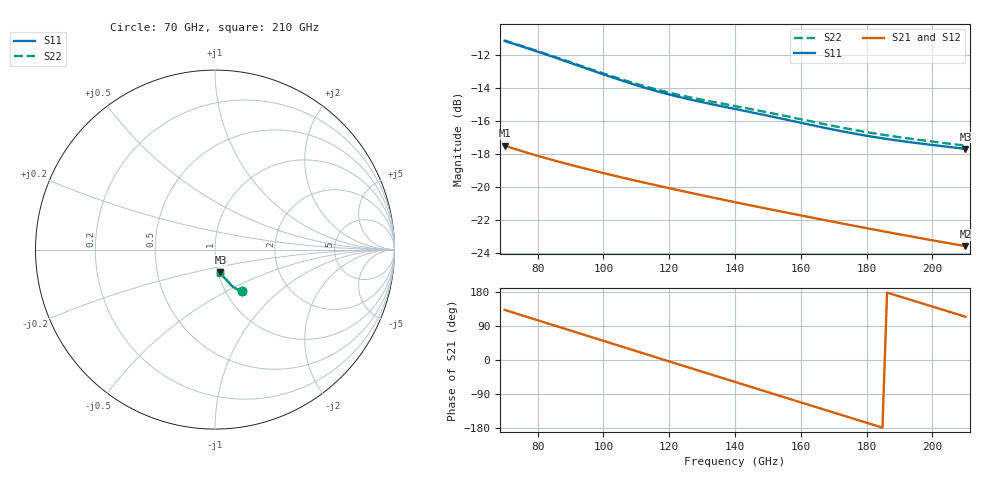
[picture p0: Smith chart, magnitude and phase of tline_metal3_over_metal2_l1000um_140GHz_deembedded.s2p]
! Created with skrf 2.2.0 (http://scikit-rf.org).
# GHz S DB R 50.0
! Port[1] = P1
! Port[2] = P2
!freq dBS11 angS11 dBS21 angS21 dBS12 angS12 dBS22 angS22
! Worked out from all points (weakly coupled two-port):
!   101 points, 70 GHz to 210 GHz, reference 50 ohm
!   highest |S21| = -17.51 dB at 70 GHz (marker M1); lowest = -23.6 dB at 210 GHz (marker M2)
!   lowest |S11| = -17.7 dB at 210 GHz (marker M3), VSWR 1.30, Z = 51.4 - j13.2 ohm
!   |S11| at or under -10 dB: start of sweep to end of sweep
!   |S22| runs from -17.5 to -11.1 dB; largest |S21 - S12| = 9.5e-14
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70  -11.15 -57.3  -17.51 132.3  -17.51 132.3  -11.12 -57.0
75.6  -11.51 -59.0  -17.86 117.0  -17.86 117.0  -11.48 -58.7
81.2  -11.88 -60.7  -18.19 101.7  -18.19 101.7  -11.85 -60.3
86.8  -12.26 -62.3  -18.50 86.5  -18.50 86.5  -12.22 -61.9
93.8  -12.75 -64.1  -18.86 67.5  -18.86 67.5  -12.70 -63.7
100.8  -13.23 -65.6  -19.21 48.4  -19.21 48.4  -13.17 -65.1
106.4  -13.61 -66.6  -19.47 33.2  -19.47 33.2  -13.53 -66.0
112  -13.95 -67.3  -19.73 18.0  -19.73 18.0  -13.87 -66.8
117.6  -14.27 -67.9  -19.98 2.8  -19.98 2.8  -14.17 -67.4
127.4  -14.75 -68.9  -20.41 -23.8  -20.41 -23.8  -14.61 -68.5
134.4  -15.05 -69.7  -20.70 -42.7  -20.70 -42.7  -14.89 -69.4
140  -15.28 -70.5  -20.94 -57.9  -20.94 -57.9  -15.10 -70.2
145.6  -15.51 -71.2  -21.17 -73.0  -21.17 -73.0  -15.32 -71.1
151.2  -15.74 -72.0  -21.39 -88.1  -21.39 -88.1  -15.54 -72.0
156.8  -15.98 -72.7  -21.61 -103.2  -21.61 -103.2  -15.77 -72.8
163.8  -16.28 -73.5  -21.89 -122.1  -21.89 -122.1  -16.06 -73.8
170.8  -16.57 -74.1  -22.16 -140.9  -22.16 -140.9  -16.35 -74.5
176.4  -16.78 -74.4  -22.38 -155.9  -22.38 -155.9  -16.56 -75.0
182  -16.97 -74.7  -22.59 -170.9  -22.59 -170.9  -16.75 -75.5
187.6  -17.14 -75.0  -22.80 174.1  -22.80 174.1  -16.92 -75.9
200.2  -17.47 -75.8  -23.26 140.4  -23.26 140.4  -17.26 -77.0
210  -17.70 -76.6  -23.61 114.3  -23.61 114.3  -17.51 -78.1
